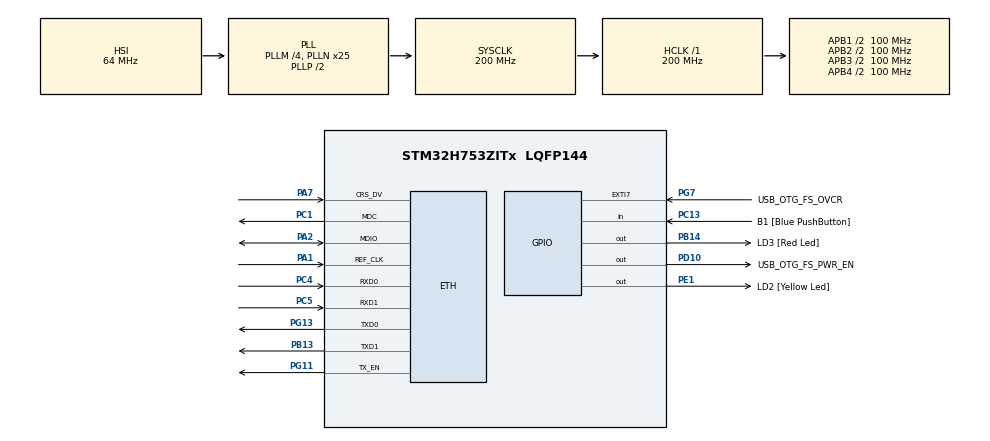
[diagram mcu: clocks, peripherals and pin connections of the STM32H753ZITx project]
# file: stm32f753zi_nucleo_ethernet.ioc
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CORTEX_M7.AccessPermission-Cortex_Memory_Protection_Unit_Region1_Settings=MPU_REGION_FULL_ACCESS
CORTEX_M7.AccessPermission-Cortex_Memory_Protection_Unit_Region2_Settings=MPU_REGION_FULL_ACCESS
CORTEX_M7.BaseAddress-Cortex_Memory_Protection_Unit_Region1_Settings=0x30020000
CORTEX_M7.BaseAddress-Cortex_Memory_Protection_Unit_Region2_Settings=0x30040000
CORTEX_M7.CPU_DCache=Enabled
CORTEX_M7.CPU_ICache=Enabled
CORTEX_M7.DisableExec-Cortex_Memory_Protection_Unit_Region0_Settings=MPU_INSTRUCTION_ACCESS_DISABLE
CORTEX_M7.DisableExec-Cortex_Memory_Protection_Unit_Region1_Settings=MPU_INSTRUCTION_ACCESS_DISABLE
CORTEX_M7.DisableExec-Cortex_Memory_Protection_Unit_Region2_Settings=MPU_INSTRUCTION_ACCESS_DISABLE
CORTEX_M7.Enable-Cortex_Memory_Protection_Unit_Region0_Settings=MPU_REGION_ENABLE
CORTEX_M7.Enable-Cortex_Memory_Protection_Unit_Region1_Settings=MPU_REGION_ENABLE
CORTEX_M7.Enable-Cortex_Memory_Protection_Unit_Region2_Settings=MPU_REGION_ENABLE
CORTEX_M7.IsBufferable-Cortex_Memory_Protection_Unit_Region2_Settings=MPU_ACCESS_BUFFERABLE
CORTEX_M7.IsShareable-Cortex_Memory_Protection_Unit_Region0_Settings=MPU_ACCESS_SHAREABLE
CORTEX_M7.IsShareable-Cortex_Memory_Protection_Unit_Region2_Settings=MPU_ACCESS_SHAREABLE
CORTEX_M7.MPU_Control=MPU_PRIVILEGED_DEFAULT
CORTEX_M7.Size-Cortex_Memory_Protection_Unit_Region0_Settings=MPU_REGION_SIZE_4GB
CORTEX_M7.Size-Cortex_Memory_Protection_Unit_Region1_Settings=MPU_REGION_SIZE_128KB
CORTEX_M7.Size-Cortex_Memory_Protection_Unit_Region2_Settings=MPU_REGION_SIZE_512B
CORTEX_M7.SubRegionDisable-Cortex_Memory_Protection_Unit_Region0_Settings=0x87
CORTEX_M7.TypeExtField-Cortex_Memory_Protection_Unit_Region1_Settings=MPU_TEX_LEVEL1
ETH.MediaInterface=HAL_ETH_RMII_MODE
FREERTOS.Tasks01=defaultTask,0,512,StartDefaultTask,Default,NULL,Dynamic,NULL,NULL
LWIP.BSP.number=1
LWIP.IP_ADDRESS=192.168.000.010
LWIP.LWIP_DHCP=0
LWIP.LWIP_RAM_HEAP_POINTER=0x30020000
LWIP.MEM_SIZE=2048
LWIP.NETMASK_ADDRESS=255.255.255.000
LWIP.Version=v2.1.2_Cube
LWIP0.BSP.STBoard=false
LWIP0.BSP.api=BSP_COMPONENT_DRIVER
LWIP0.BSP.component=LAN8742
LWIP0.BSP.instance=LAN8742
LWIP0.BSP.name=Driver_PHY
LWIP0.BSP.semaphore=S_LAN8742
LWIP0.BSP.solution=LAN8742
Mcu.Family=STM32H7
Mcu.Name=STM32H753ZITx
Mcu.Package=LQFP144
NVIC.ETH_IRQn=true\:5\:0\:false\:false\:true\:true\:true\:true\:true
NVIC.ETH_WKUP_IRQn=true\:5\:0\:false\:false\:true\:true\:true\:true\:true
NVIC.PriorityGroup=NVIC_PRIORITYGROUP_4
NVIC.TIM6_DAC_IRQn=true\:15\:0\:false\:false\:true\:false\:false\:true\:true
NVIC.TimeBase=TIM6_DAC_IRQn
NVIC.TimeBaseIP=TIM6
PA1.GPIO_Speed=GPIO_SPEED_FREQ_VERY_HIGH
PA1.Mode=RMII
PA1.Signal=ETH_REF_CLK
PA11.Signal=USB_OTG_FS_DM
PA12.Signal=USB_OTG_FS_DP
PA2.GPIO_Speed=GPIO_SPEED_FREQ_VERY_HIGH
PA2.Mode=RMII
PA2.Signal=ETH_MDIO
PA7.GPIO_Speed=GPIO_SPEED_FREQ_VERY_HIGH
PA7.Mode=RMII
PA7.Signal=ETH_CRS_DV
PA8.Signal=USB_OTG_FS_SOF
PA9.Signal=USB_OTG_FS_VBUS
PB0.Signal=ETH_RXD2
PB13.GPIO_Speed=GPIO_SPEED_FREQ_VERY_HIGH
PB13.Mode=RMII
PB13.Signal=ETH_TXD1
PB14.GPIO_Label=LD3 [Red Led]
PB14.Signal=GPIO_Output
PC1.GPIO_Speed=GPIO_SPEED_FREQ_VERY_HIGH
PC1.Mode=RMII
PC1.Signal=ETH_MDC
PC13.GPIO_Label=B1 [Blue PushButton]
PC13.Signal=GPIO_Input
PC14-OSC32_IN\ (OSC32_IN).Signal=RCC_OSC32_IN
PC15-OSC32_OUT\ (OSC32_OUT).Signal=RCC_OSC32_OUT
PC4.GPIO_Speed=GPIO_SPEED_FREQ_VERY_HIGH
PC4.Mode=RMII
PC4.Signal=ETH_RXD0
PC5.GPIO_Speed=GPIO_SPEED_FREQ_VERY_HIGH
PC5.Mode=RMII
PC5.Signal=ETH_RXD1
PD10.GPIO_Label=USB_OTG_FS_PWR_EN
PD10.Signal=GPIO_Output
PD8.GPIO_Label=STLINK_RX
PD8.Signal=USART3_TX
PD9.GPIO_Label=STLINK_TX
PD9.Signal=USART3_RX
PE1.GPIO_Label=LD2 [Yellow Led]
PE1.Signal=GPIO_Output
PG11.GPIO_Speed=GPIO_SPEED_FREQ_VERY_HIGH
PG11.Mode=RMII
PG11.Signal=ETH_TX_EN
PG13.GPIO_Speed=GPIO_SPEED_FREQ_VERY_HIGH
PG13.Mode=RMII
PG13.Signal=ETH_TXD0
PG7.GPIO_Label=USB_OTG_FS_OVCR
PG7.Signal=GPXTI7
PH0-OSC_IN\ (PH0).Signal=RCC_OSC_IN
PH1-OSC_OUT\ (PH1).Signal=RCC_OSC_OUT
ProjectManager.HeapSize=0x200
ProjectManager.StackSize=0x400
ProjectManager.TargetToolchain=STM32CubeIDE
RCC.ADCFreq_Value=129000000
RCC.APB1Freq_Value=100000000
RCC.APB2Freq_Value=100000000
RCC.APB3Freq_Value=100000000
RCC.APB4Freq_Value=100000000
RCC.CortexFreq_Value=200000000
RCC.D1PPRE=RCC_APB3_DIV2
RCC.D2PPRE1=RCC_APB1_DIV2
RCC.D2PPRE2=RCC_APB2_DIV2
RCC.D3PPRE=RCC_APB4_DIV2
RCC.DIVM1=4
RCC.DIVN1=25
RCC.DIVQ1=4
RCC.HCLKFreq_Value=200000000
RCC.HSE_VALUE=8000000
RCC.PLL2FRACN=0
RCC.PLL3FRACN=0
RCC.PLLFRACN=0
RCC.PWR_Regulator_Voltage_Scale=PWR_REGULATOR_VOLTAGE_SCALE2
RCC.SYSCLKFreq_VALUE=200000000
RCC.SYSCLKSource=RCC_SYSCLKSOURCE_PLLCLK
RCC.USBFreq_Value=100000000
VP_FREERTOS_VS_CMSIS_V1.Mode=CMSIS_V1
VP_LWIP_VS_Enabled.Mode=Enabled
VP_SYS_VS_tim6.Mode=TIM6
board=NUCLEO-H753ZI

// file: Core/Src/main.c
/* USER CODE BEGIN Header */
/**
  ******************************************************************************
  * @file           : main.c
  * @brief          : Main program body
  ******************************************************************************
  * @attention
  *
  * Copyright (c) 2024 STMicroelectronics.
  * All rights reserved.
  *
  * This software is licensed under terms that can be found in the LICENSE file
  * in the root directory of this software component.
  * If no LICENSE file comes with this software, it is provided AS-IS.
  *
  ******************************************************************************
  */
/* USER CODE END Header */
#include "main.h"
#include "cmsis_os.h"
#include "lwip.h"

/* USER CODE BEGIN Includes */
#define TCP_SERVER_EXAMPLE 0
#define TCP_CLIENT_EXAMPLE 1
#define UDP_EXAMPLE        0

#if TCP_SERVER_EXAMPLE == 1 && TCP_CLIENT_EXAMPLE != 1 && UDP_EXAMPLE !=1
	#include "tcp_server_demo.h"
#endif

#if TCP_SERVER_EXAMPLE != 1 && TCP_CLIENT_EXAMPLE == 1 && UDP_EXAMPLE !=1
	#include "tcp_client_demo.h"
#endif

/* USER CODE END Includes */

osThreadId defaultTaskHandle;

void SystemClock_Config(void);
static void MPU_Config(void);
static void MX_GPIO_Init(void);
void StartDefaultTask(void const * argument);

int main(void)
{

  /* MPU Configuration--------------------------------------------------------*/
  MPU_Config();
/* Enable the CPU Cache */

  /* Enable I-Cache---------------------------------------------------------*/
  SCB_EnableICache();

  /* Enable D-Cache---------------------------------------------------------*/
  SCB_EnableDCache();

  /* MCU Configuration--------------------------------------------------------*/

  /* Reset of all peripherals, Initializes the Flash interface and the Systick. */
  HAL_Init();

  /* Configure the system clock */
  SystemClock_Config();

  /* Initialize all configured peripherals */
  MX_GPIO_Init();

  /* Create the thread(s) */
  /* definition and creation of defaultTask */
  osThreadDef(defaultTask, StartDefaultTask, osPriorityNormal, 0, 512);
  defaultTaskHandle = osThreadCreate(osThread(defaultTask), NULL);

  /* Start scheduler */
  osKernelStart();

  /* We should never get here as control is now taken by the scheduler */
  /* Infinite loop */
  while (1)
  {

  }
}

void SystemClock_Config(void)
{
  RCC_OscInitTypeDef RCC_OscInitStruct = {0};
  RCC_ClkInitTypeDef RCC_ClkInitStruct = {0};

  /** Supply configuration update enable
  */
  HAL_PWREx_ConfigSupply(PWR_LDO_SUPPLY);

  /** Configure the main internal regulator output voltage
  */
  __HAL_PWR_VOLTAGESCALING_CONFIG(PWR_REGULATOR_VOLTAGE_SCALE2);

  while(!__HAL_PWR_GET_FLAG(PWR_FLAG_VOSRDY)) {}

  /** Initializes the RCC Oscillators according to the specified parameters
  * in the RCC_OscInitTypeDef structure.
  */
  RCC_OscInitStruct.OscillatorType = RCC_OSCILLATORTYPE_HSI;
  RCC_OscInitStruct.HSIState = RCC_HSI_DIV1;
  RCC_OscInitStruct.HSICalibrationValue = RCC_HSICALIBRATION_DEFAULT;
  RCC_OscInitStruct.PLL.PLLState = RCC_PLL_ON;
  RCC_OscInitStruct.PLL.PLLSource = RCC_PLLSOURCE_HSI;
  RCC_OscInitStruct.PLL.PLLM = 4;
  RCC_OscInitStruct.PLL.PLLN = 25;
  RCC_OscInitStruct.PLL.PLLP = 2;
  RCC_OscInitStruct.PLL.PLLQ = 4;
  RCC_OscInitStruct.PLL.PLLR = 2;
  RCC_OscInitStruct.PLL.PLLRGE = RCC_PLL1VCIRANGE_3;
  RCC_OscInitStruct.PLL.PLLVCOSEL = RCC_PLL1VCOWIDE;
  RCC_OscInitStruct.PLL.PLLFRACN = 0;
  if (HAL_RCC_OscConfig(&RCC_OscInitStruct) != HAL_OK)
  {
    Error_Handler();
  }

  /** Initializes the CPU, AHB and APB buses clocks
  */
  RCC_ClkInitStruct.ClockType = RCC_CLOCKTYPE_HCLK|RCC_CLOCKTYPE_SYSCLK
                              |RCC_CLOCKTYPE_PCLK1|RCC_CLOCKTYPE_PCLK2
                              |RCC_CLOCKTYPE_D3PCLK1|RCC_CLOCKTYPE_D1PCLK1;
  RCC_ClkInitStruct.SYSCLKSource = RCC_SYSCLKSOURCE_PLLCLK;
  RCC_ClkInitStruct.SYSCLKDivider = RCC_SYSCLK_DIV1;
  RCC_ClkInitStruct.AHBCLKDivider = RCC_HCLK_DIV1;
  RCC_ClkInitStruct.APB3CLKDivider = RCC_APB3_DIV2;
  RCC_ClkInitStruct.APB1CLKDivider = RCC_APB1_DIV2;
  RCC_ClkInitStruct.APB2CLKDivider = RCC_APB2_DIV2;
  RCC_ClkInitStruct.APB4CLKDivider = RCC_APB4_DIV2;

  if (HAL_RCC_ClockConfig(&RCC_ClkInitStruct, FLASH_LATENCY_3) != HAL_OK)
  {
    Error_Handler();
  }
}

static void MX_GPIO_Init(void)
{
  GPIO_InitTypeDef GPIO_InitStruct = {0};

  /* GPIO Ports Clock Enable */
  __HAL_RCC_GPIOC_CLK_ENABLE();
  __HAL_RCC_GPIOH_CLK_ENABLE();
  __HAL_RCC_GPIOA_CLK_ENABLE();
  __HAL_RCC_GPIOB_CLK_ENABLE();
  __HAL_RCC_GPIOD_CLK_ENABLE();
  __HAL_RCC_GPIOG_CLK_ENABLE();
  __HAL_RCC_GPIOE_CLK_ENABLE();

  /*Configure GPIO pin Output Level */
  HAL_GPIO_WritePin(LD3_GPIO_Port, LD3_Pin, GPIO_PIN_RESET);

  /*Configure GPIO pin Output Level */
  HAL_GPIO_WritePin(USB_OTG_FS_PWR_EN_GPIO_Port, USB_OTG_FS_PWR_EN_Pin, GPIO_PIN_RESET);

  /*Configure GPIO pin Output Level */
  HAL_GPIO_WritePin(LD2_GPIO_Port, LD2_Pin, GPIO_PIN_RESET);

  /*Configure GPIO pin : B1_Pin */
  GPIO_InitStruct.Pin = B1_Pin;
  GPIO_InitStruct.Mode = GPIO_MODE_INPUT;
  GPIO_InitStruct.Pull = GPIO_NOPULL;
  HAL_GPIO_Init(B1_GPIO_Port, &GPIO_InitStruct);

  /*Configure GPIO pin : LD3_Pin */
  GPIO_InitStruct.Pin = LD3_Pin;
  GPIO_InitStruct.Mode = GPIO_MODE_OUTPUT_PP;
  GPIO_InitStruct.Pull = GPIO_NOPULL;
  GPIO_InitStruct.Speed = GPIO_SPEED_FREQ_LOW;
  HAL_GPIO_Init(LD3_GPIO_Port, &GPIO_InitStruct);

  /*Configure GPIO pins : STLINK_RX_Pin STLINK_TX_Pin */
  GPIO_InitStruct.Pin = STLINK_RX_Pin|STLINK_TX_Pin;
  GPIO_InitStruct.Mode = GPIO_MODE_AF_PP;
  GPIO_InitStruct.Pull = GPIO_NOPULL;
  GPIO_InitStruct.Speed = GPIO_SPEED_FREQ_LOW;
  GPIO_InitStruct.Alternate = GPIO_AF7_USART3;
  HAL_GPIO_Init(GPIOD, &GPIO_InitStruct);

  /*Configure GPIO pin : USB_OTG_FS_PWR_EN_Pin */
  GPIO_InitStruct.Pin = USB_OTG_FS_PWR_EN_Pin;
  GPIO_InitStruct.Mode = GPIO_MODE_OUTPUT_PP;
  GPIO_InitStruct.Pull = GPIO_NOPULL;
  GPIO_InitStruct.Speed = GPIO_SPEED_FREQ_LOW;
  HAL_GPIO_Init(USB_OTG_FS_PWR_EN_GPIO_Port, &GPIO_InitStruct);

  /*Configure GPIO pin : USB_OTG_FS_OVCR_Pin */
  GPIO_InitStruct.Pin = USB_OTG_FS_OVCR_Pin;
  GPIO_InitStruct.Mode = GPIO_MODE_IT_RISING;
  GPIO_InitStruct.Pull = GPIO_NOPULL;
  HAL_GPIO_Init(USB_OTG_FS_OVCR_GPIO_Port, &GPIO_InitStruct);

  /*Configure GPIO pins : PA8 PA11 PA12 */
  GPIO_InitStruct.Pin = GPIO_PIN_8|GPIO_PIN_11|GPIO_PIN_12;
  GPIO_InitStruct.Mode = GPIO_MODE_AF_PP;
  GPIO_InitStruct.Pull = GPIO_NOPULL;
  GPIO_InitStruct.Speed = GPIO_SPEED_FREQ_LOW;
  GPIO_InitStruct.Alternate = GPIO_AF10_OTG1_FS;
  HAL_GPIO_Init(GPIOA, &GPIO_InitStruct);

  /*Configure GPIO pin : LD2_Pin */
  GPIO_InitStruct.Pin = LD2_Pin;
  GPIO_InitStruct.Mode = GPIO_MODE_OUTPUT_PP;
  GPIO_InitStruct.Pull = GPIO_NOPULL;
  GPIO_InitStruct.Speed = GPIO_SPEED_FREQ_LOW;
  HAL_GPIO_Init(LD2_GPIO_Port, &GPIO_InitStruct);

}

void StartDefaultTask(void const * argument)
{
  /* init code for LWIP */
  MX_LWIP_Init();
  /* USER CODE BEGIN 5 */
#if TCP_SERVER_EXAMPLE != 1 && TCP_CLIENT_EXAMPLE != 1 && UDP_EXAMPLE ==1
  // UDP server basic example
  const char* message = "Hello UDP message!\n\r";

  osDelay(1000);

  ip_addr_t PC_IPADDR;
  IP_ADDR4(&PC_IPADDR, 192, 168, 0, 1);

  struct udp_pcb* my_udp = udp_new();
  udp_connect(my_udp, &PC_IPADDR, 55151);
  struct pbuf* udp_buffer = NULL;

  /* Infinite loop */
  for (;;) {
    osDelay(1000);
    udp_buffer = pbuf_alloc(PBUF_TRANSPORT, strlen(message), PBUF_RAM);

    if (udp_buffer != NULL) {
      memcpy(udp_buffer->payload, message, strlen(message));
      udp_send(my_udp, udp_buffer);
      pbuf_free(udp_buffer);
    }
  }
#endif

#if TCP_SERVER_EXAMPLE == 1 && TCP_CLIENT_EXAMPLE != 1 && UDP_EXAMPLE !=1
  tcpserver_init();
#endif

#if TCP_SERVER_EXAMPLE != 1 && TCP_CLIENT_EXAMPLE == 1 && UDP_EXAMPLE !=1
  tcpclient_init();
#endif

#if (TCP_SERVER_EXAMPLE == 1 || TCP_CLIENT_EXAMPLE == 1) && UDP_EXAMPLE !=1
  for(;;)
  {
	  osDelay(1);
  }
#endif
  /* USER CODE END 5 */
}

/* MPU Configuration */

void MPU_Config(void)
{
  MPU_Region_InitTypeDef MPU_InitStruct = {0};

  /* Disables the MPU */
  HAL_MPU_Disable();

  /** Initializes and configures the Region and the memory to be protected
  */
  MPU_InitStruct.Enable = MPU_REGION_ENABLE;
  MPU_InitStruct.Number = MPU_REGION_NUMBER0;
  MPU_InitStruct.BaseAddress = 0x0;
  MPU_InitStruct.Size = MPU_REGION_SIZE_4GB;
  MPU_InitStruct.SubRegionDisable = 0x87;
  MPU_InitStruct.TypeExtField = MPU_TEX_LEVEL0;
  MPU_InitStruct.AccessPermission = MPU_REGION_NO_ACCESS;
  MPU_InitStruct.DisableExec = MPU_INSTRUCTION_ACCESS_DISABLE;
  MPU_InitStruct.IsShareable = MPU_ACCESS_SHAREABLE;
  MPU_InitStruct.IsCacheable = MPU_ACCESS_NOT_CACHEABLE;
  MPU_InitStruct.IsBufferable = MPU_ACCESS_NOT_BUFFERABLE;

  HAL_MPU_ConfigRegion(&MPU_InitStruct);

  /** Initializes and configures the Region and the memory to be protected
  */
  MPU_InitStruct.Number = MPU_REGION_NUMBER1;
  MPU_InitStruct.BaseAddress = 0x30020000;
  MPU_InitStruct.Size = MPU_REGION_SIZE_128KB;
  MPU_InitStruct.SubRegionDisable = 0x0;
  MPU_InitStruct.TypeExtField = MPU_TEX_LEVEL1;
  MPU_InitStruct.AccessPermission = MPU_REGION_FULL_ACCESS;
  MPU_InitStruct.IsShareable = MPU_ACCESS_NOT_SHAREABLE;

  HAL_MPU_ConfigRegion(&MPU_InitStruct);

  /** Initializes and configures the Region and the memory to be protected
  */
  MPU_InitStruct.Number = MPU_REGION_NUMBER2;
  MPU_InitStruct.BaseAddress = 0x30040000;
  MPU_InitStruct.Size = MPU_REGION_SIZE_512B;
  MPU_InitStruct.TypeExtField = MPU_TEX_LEVEL0;
  MPU_InitStruct.IsShareable = MPU_ACCESS_SHAREABLE;
  MPU_InitStruct.IsBufferable = MPU_ACCESS_BUFFERABLE;

  HAL_MPU_ConfigRegion(&MPU_InitStruct);
  /* Enables the MPU */
  HAL_MPU_Enable(MPU_PRIVILEGED_DEFAULT);

}

void HAL_TIM_PeriodElapsedCallback(TIM_HandleTypeDef *htim)
{
  if (htim->Instance == TIM6) {
    HAL_IncTick();
  }
}

void Error_Handler(void)
{
  __disable_irq();
  while (1)
  {
  }
}
